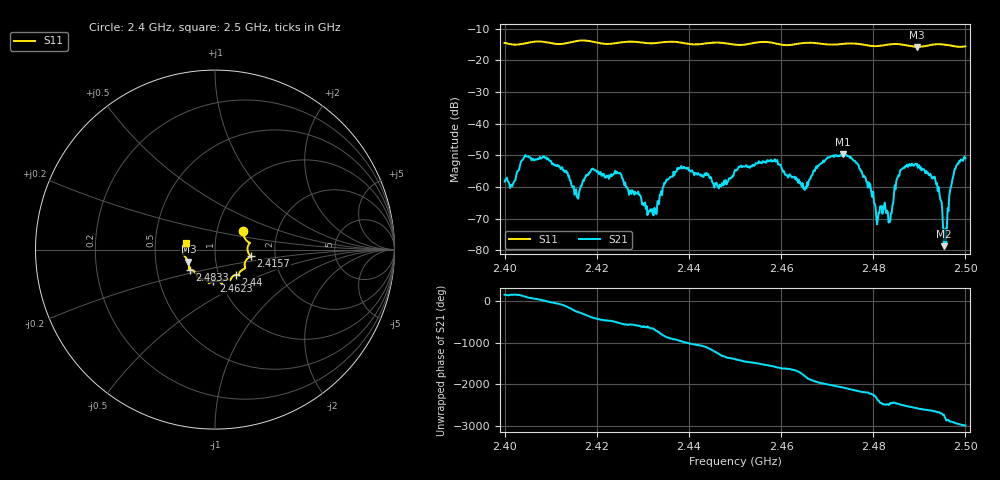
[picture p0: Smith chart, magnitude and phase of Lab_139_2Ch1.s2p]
# Hz S RI R 50
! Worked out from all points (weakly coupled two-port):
!   601 points, 2.4 GHz to 2.5 GHz, reference 50 ohm
!   highest |S21| = -49.69 dB at 2.4735 GHz (marker M1); lowest = -78.7 dB at 2.4953 GHz (marker M2)
!   lowest |S11| = -15.8 dB at 2.4895 GHz (marker M3), VSWR 1.39, Z = 36.8 - j5.12 ohm
!   |S11| at or under -10 dB: start of sweep to end of sweep
!   S12 and S22 are empty: the file has one direction only
!   S11 on the Smith chart (normalised r, x): 2.4 GHz: 1.33, +0.29; 2.4157 GHz: 1.49, -0.12; 2.44 GHz: 1.21, -0.35; 2.4623 GHz: 0.92, -0.34; 2.4833 GHz: 0.74, -0.17; 2.5 GHz: 0.72, +0.06
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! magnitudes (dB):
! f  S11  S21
! 2.4 GHz  -14.5  -58.3
! 2.4088 GHz  -14.2  -50.9
! 2.4157 GHz  -13.9  -63.1
! 2.4167 GHz  -13.7  -59.8
! 2.4245 GHz  -14.5  -55.4
! 2.4312 GHz  -14.6  -67.8
! 2.4333 GHz  -14.4  -64.4
! 2.4352 GHz  -14.2  -57.6
! 2.44 GHz  -14.8  -54.8
! 2.4467 GHz  -14.4  -59.3
! 2.45 GHz  -15.0  -54.6
! 2.4587 GHz  -14.6  -51.2
! 2.4623 GHz  -15.1  -57.0
! 2.4667 GHz  -14.4  -56.4
! 2.4735 GHz  -14.8  -49.7
! 2.4833 GHz  -15.0  -71.3
! 2.4858 GHz  -14.9  -54.8
! 2.4895 GHz  -15.8  -52.7
! 2.4937 GHz  -14.9  -59.2
! 2.4953 GHz  -15.0  -78.7
! 2.4977 GHz  -15.6  -54.4
! 2.5 GHz  -15.6  -51.0
